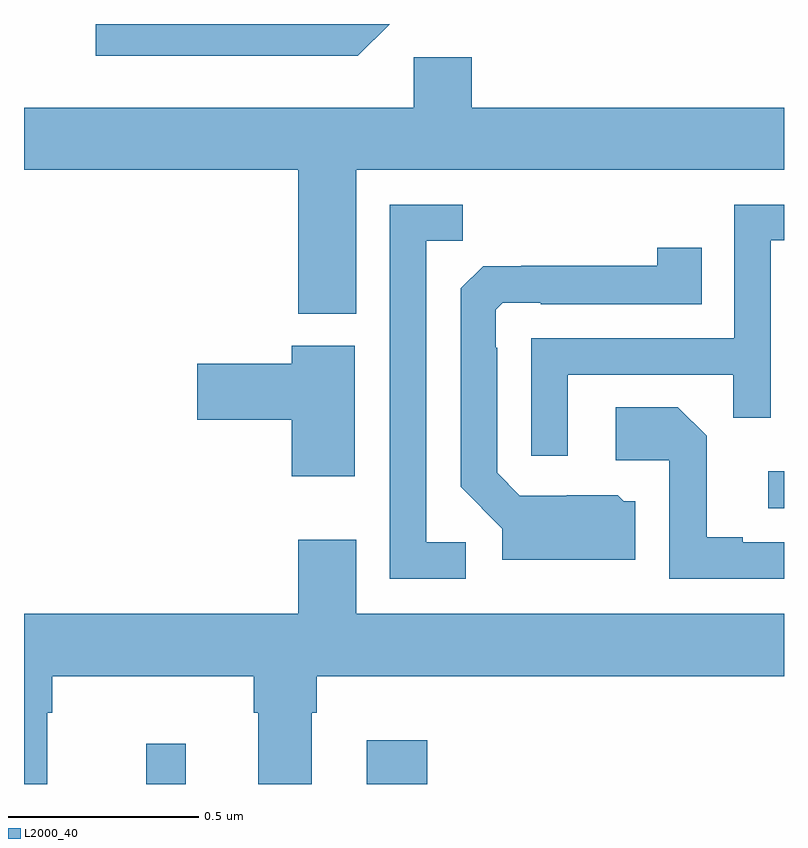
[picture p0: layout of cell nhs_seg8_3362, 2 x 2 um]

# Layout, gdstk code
import gdstk
lib = gdstk.Library(unit=1e-6, precision=1e-09)
def R(c, l, rs):  # rectangles x0, y0, x1, y1
    for r in rs: c.add(gdstk.rectangle(r[:2], r[2:], *l))
def P(c, l, *ps):  # polygons
    for p in ps: c.add(gdstk.Polygon(p, *l))
L2000_40 = (2000, 40)

nhs_seg8_3362 = lib.new_cell('nhs_seg8_3362')
R(nhs_seg8_3362, L2000_40, [(156.322,1098.9,156.425,1099.006), (156.902,1098.9,157.061,1099.015), (157.959,1099.626,158,1099.723)])
P(nhs_seg8_3362, L2000_40, [(156.962,1100.9),(156.189,1100.9),(156.189,1100.816),(156.878,1100.816)],
  [(156.874,1100.516),(158,1100.516),(158,1100.68),(157.178,1100.68),(157.178,1100.812),(157.026,1100.812),(157.026,1100.68),(156,1100.68),(156,1100.516),(156.722,1100.516),(156.722,1100.138),(156.874,1100.138)],
  [(157.431,1099.977),(157.867,1099.977),(157.867,1099.864),(157.965,1099.864),(157.965,1100.331),(158,1100.331),(158,1100.424),(157.869,1100.424),(157.869,1100.073),(157.335,1100.073),(157.335,1099.764),(157.431,1099.764)],
  [(157.162,1099.536),(157.059,1099.536),(157.059,1100.329),(157.155,1100.329),(157.155,1100.424),(156.963,1100.424),(156.963,1099.44),(157.162,1099.44)],
  [(157.609,1099.644),(157.578,1099.644),(157.562,1099.66),(157.428,1099.66),(157.428,1099.659),(157.305,1099.659),(157.245,1099.719),(157.245,1100.048),(157.242,1100.048),(157.242,1100.148),(157.26,1100.166),(157.36,1100.166),(157.36,1100.163),(157.784,1100.163),(157.784,1100.311),(157.666,1100.311),(157.666,1100.264),(157.309,1100.264),(157.309,1100.263),(157.208,1100.263),(157.149,1100.204),(157.149,1099.682),(157.259,1099.572),(157.259,1099.49),(157.609,1099.49)],
  [(156.871,1100.053),(156.704,1100.053),(156.704,1100.006),(156.456,1100.006),(156.456,1099.859),(156.704,1099.859),(156.704,1099.71),(156.871,1099.71)],
  [(158,1099.536),(157.891,1099.536),(157.891,1099.549),(157.797,1099.549),(157.797,1099.816),(157.721,1099.892),(157.557,1099.892),(157.557,1099.752),(157.698,1099.752),(157.698,1099.44),(158,1099.44)],
  [(156.061,1099.088),(156.074,1099.088),(156.074,1099.184),(156.605,1099.184),(156.605,1099.088),(156.617,1099.088),(156.617,1098.9),(156.757,1098.9),(156.757,1099.088),(156.77,1099.088),(156.77,1099.184),(158,1099.184),(158,1099.348),(156.874,1099.348),(156.874,1099.543),(156.722,1099.543),(156.722,1099.348),(156,1099.348),(156,1098.9),(156.061,1098.9)])

lib.write_gds('nhs_seg8_3362.gds')
